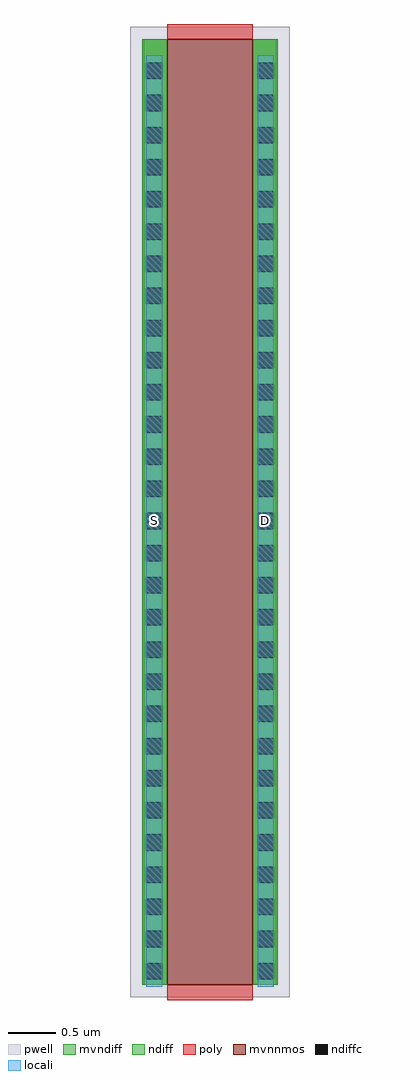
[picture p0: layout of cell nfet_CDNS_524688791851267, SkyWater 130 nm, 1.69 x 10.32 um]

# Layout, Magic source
magic
tech sky130A
magscale 1 2
<< pwell >>
rect -76 -26 256 2026
<< mvnnmos >>
rect 0 0 180 2000
<< mvndiff >>
rect -50 0 0 2000
rect 180 0 230 2000
<< poly >>
rect 0 2000 180 2032
rect 0 -32 180 0
<< locali >>
rect -45 -4 -11 1966
rect 191 -4 225 1966
use DFL1sd_CDNS_52468879185709  DFL1sd_CDNS_52468879185709_0
transform -1 0 0 0 1 0
box -26 -26 79 2026
use DFL1sd_CDNS_52468879185709  DFL1sd_CDNS_52468879185709_1
transform 1 0 180 0 1 0
box -26 -26 79 2026
<< labels >>
flabel comment s -28 981 -28 981 0 FreeSans 300 0 0 0 S
flabel comment s 208 981 208 981 0 FreeSans 300 0 0 0 D
<< properties >>
string GDS_END 86613718
string GDS_FILE $PDKPATH/libs.ref/sky130_fd_io/gds/sky130_fd_io.gds
string GDS_START 86612768
<< end >>

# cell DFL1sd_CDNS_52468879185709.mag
magic
tech sky130A
magscale 1 2
<< pwell >>
rect -26 -26 79 2026
<< ndiff >>
rect 0 1950 53 2000
rect 0 1916 11 1950
rect 45 1916 53 1950
rect 0 1882 53 1916
rect 0 1848 11 1882
rect 45 1848 53 1882
rect 0 1814 53 1848
rect 0 1780 11 1814
rect 45 1780 53 1814
rect 0 1746 53 1780
rect 0 1712 11 1746
rect 45 1712 53 1746
rect 0 1678 53 1712
rect 0 1644 11 1678
rect 45 1644 53 1678
rect 0 1610 53 1644
rect 0 1576 11 1610
rect 45 1576 53 1610
rect 0 1542 53 1576
rect 0 1508 11 1542
rect 45 1508 53 1542
rect 0 1474 53 1508
rect 0 1440 11 1474
rect 45 1440 53 1474
rect 0 1406 53 1440
rect 0 1372 11 1406
rect 45 1372 53 1406
rect 0 1338 53 1372
rect 0 1304 11 1338
rect 45 1304 53 1338
rect 0 1270 53 1304
rect 0 1236 11 1270
rect 45 1236 53 1270
rect 0 1202 53 1236
rect 0 1168 11 1202
rect 45 1168 53 1202
rect 0 1134 53 1168
rect 0 1100 11 1134
rect 45 1100 53 1134
rect 0 1066 53 1100
rect 0 1032 11 1066
rect 45 1032 53 1066
rect 0 998 53 1032
rect 0 964 11 998
rect 45 964 53 998
rect 0 930 53 964
rect 0 896 11 930
rect 45 896 53 930
rect 0 862 53 896
rect 0 828 11 862
rect 45 828 53 862
rect 0 794 53 828
rect 0 760 11 794
rect 45 760 53 794
rect 0 726 53 760
rect 0 692 11 726
rect 45 692 53 726
rect 0 658 53 692
rect 0 624 11 658
rect 45 624 53 658
rect 0 590 53 624
rect 0 556 11 590
rect 45 556 53 590
rect 0 522 53 556
rect 0 488 11 522
rect 45 488 53 522
rect 0 454 53 488
rect 0 420 11 454
rect 45 420 53 454
rect 0 386 53 420
rect 0 352 11 386
rect 45 352 53 386
rect 0 318 53 352
rect 0 284 11 318
rect 45 284 53 318
rect 0 250 53 284
rect 0 216 11 250
rect 45 216 53 250
rect 0 182 53 216
rect 0 148 11 182
rect 45 148 53 182
rect 0 114 53 148
rect 0 80 11 114
rect 45 80 53 114
rect 0 46 53 80
rect 0 12 11 46
rect 45 12 53 46
rect 0 0 53 12
<< ndiffc >>
rect 11 1916 45 1950
rect 11 1848 45 1882
rect 11 1780 45 1814
rect 11 1712 45 1746
rect 11 1644 45 1678
rect 11 1576 45 1610
rect 11 1508 45 1542
rect 11 1440 45 1474
rect 11 1372 45 1406
rect 11 1304 45 1338
rect 11 1236 45 1270
rect 11 1168 45 1202
rect 11 1100 45 1134
rect 11 1032 45 1066
rect 11 964 45 998
rect 11 896 45 930
rect 11 828 45 862
rect 11 760 45 794
rect 11 692 45 726
rect 11 624 45 658
rect 11 556 45 590
rect 11 488 45 522
rect 11 420 45 454
rect 11 352 45 386
rect 11 284 45 318
rect 11 216 45 250
rect 11 148 45 182
rect 11 80 45 114
rect 11 12 45 46
<< locali >>
rect 11 1950 45 1966
rect 11 1882 45 1916
rect 11 1814 45 1848
rect 11 1746 45 1780
rect 11 1678 45 1712
rect 11 1610 45 1644
rect 11 1542 45 1576
rect 11 1474 45 1508
rect 11 1406 45 1440
rect 11 1338 45 1372
rect 11 1270 45 1304
rect 11 1202 45 1236
rect 11 1134 45 1168
rect 11 1066 45 1100
rect 11 998 45 1032
rect 11 930 45 964
rect 11 862 45 896
rect 11 794 45 828
rect 11 726 45 760
rect 11 658 45 692
rect 11 590 45 624
rect 11 522 45 556
rect 11 454 45 488
rect 11 386 45 420
rect 11 318 45 352
rect 11 250 45 284
rect 11 182 45 216
rect 11 114 45 148
rect 11 46 45 80
rect 11 -4 45 12
<< properties >>
string GDS_END 78930428
string GDS_FILE $PDKPATH/libs.ref/sky130_fd_io/gds/sky130_fd_io.gds
string GDS_START 78928376
<< end >>
